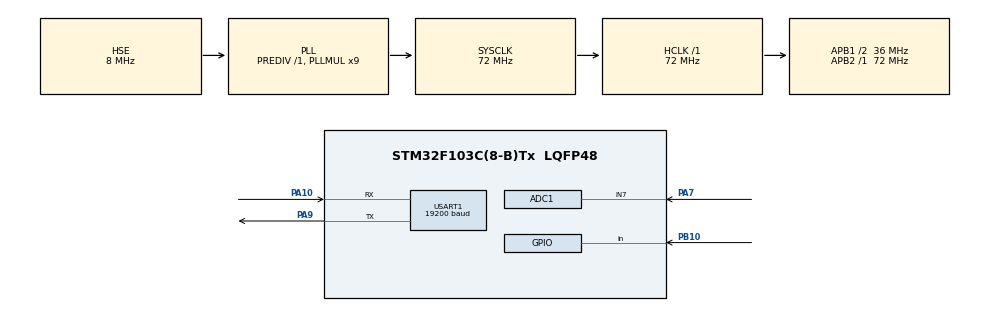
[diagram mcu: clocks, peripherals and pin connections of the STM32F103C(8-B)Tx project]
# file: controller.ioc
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ADC1.Channel-1\#ChannelRegularConversion=ADC_CHANNEL_7
ADC1.ContinuousConvMode=ENABLE
ADC1.NbrOfConversionFlag=1
ADC1.Rank-1\#ChannelRegularConversion=1
ADC1.SamplingTime-1\#ChannelRegularConversion=ADC_SAMPLETIME_1CYCLE_5
ADC1.master=1
Dma.Request0=USART1_TX
Dma.USART1_TX.0.Direction=DMA_MEMORY_TO_PERIPH
Dma.USART1_TX.0.Instance=DMA1_Channel4
Dma.USART1_TX.0.MemDataAlignment=DMA_MDATAALIGN_BYTE
Dma.USART1_TX.0.MemInc=DMA_MINC_ENABLE
Dma.USART1_TX.0.Mode=DMA_CIRCULAR
Dma.USART1_TX.0.PeriphDataAlignment=DMA_PDATAALIGN_BYTE
Dma.USART1_TX.0.PeriphInc=DMA_PINC_DISABLE
Dma.USART1_TX.0.Priority=DMA_PRIORITY_LOW
Mcu.Family=STM32F1
Mcu.Name=STM32F103C(8-B)Tx
Mcu.Package=LQFP48
NVIC.DMA1_Channel4_IRQn=true\:0\:0\:false\:false\:true\:false\:true\:true
NVIC.PriorityGroup=NVIC_PRIORITYGROUP_4
PA10.Mode=Asynchronous
PA10.Signal=USART1_RX
PA7.Signal=ADCx_IN7
PA9.Mode=Asynchronous
PA9.Signal=USART1_TX
PB10.GPIO_PuPd=GPIO_PULLDOWN
PB10.Signal=GPIO_Input
PD0-OSC_IN.Mode=HSE-External-Oscillator
PD0-OSC_IN.Signal=RCC_OSC_IN
PD1-OSC_OUT.Mode=HSE-External-Oscillator
PD1-OSC_OUT.Signal=RCC_OSC_OUT
ProjectManager.HeapSize=0x200
ProjectManager.StackSize=0x400
ProjectManager.TargetToolchain=STM32CubeIDE
RCC.ADCPresc=RCC_ADCPCLK2_DIV8
RCC.AHBFreq_Value=72000000
RCC.APB1CLKDivider=RCC_HCLK_DIV2
RCC.APB1Freq_Value=36000000
RCC.APB1TimFreq_Value=72000000
RCC.APB2Freq_Value=72000000
RCC.APB2TimFreq_Value=72000000
RCC.HCLKFreq_Value=72000000
RCC.PLLMUL=RCC_PLL_MUL9
RCC.PLLSourceVirtual=RCC_PLLSOURCE_HSE
RCC.SYSCLKFreq_VALUE=72000000
RCC.SYSCLKSource=RCC_SYSCLKSOURCE_PLLCLK
RCC.USBFreq_Value=72000000
SH.ADCx_IN7.0=ADC1_IN7,IN7
USART1.BaudRate=19200
USART1.VirtualMode=VM_ASYNC
VP_SYS_VS_ND.Mode=No_Debug
board=custom

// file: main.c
/* USER CODE BEGIN Header */
/**
  ******************************************************************************
  * @file           : main.c
  * @brief          : Main program body
  ******************************************************************************
  * @attention
  *
  * Copyright (c) 2025 STMicroelectronics.
  * All rights reserved.
  *
  * This software is licensed under terms that can be found in the LICENSE file
  * in the root directory of this software component.
  * If no LICENSE file comes with this software, it is provided AS-IS.
  *
  ******************************************************************************
  */
/* USER CODE END Header */
#include "main.h"

/* USER CODE BEGIN Includes */
#include "stdbool.h"
/* USER CODE END Includes */

/* USER CODE BEGIN PD */
#define WINDOW_SIZE 4
/* USER CODE END PD */

ADC_HandleTypeDef hadc1;

UART_HandleTypeDef huart1;
DMA_HandleTypeDef hdma_usart1_tx;

/* USER CODE BEGIN PV */
uint8_t pkg1, pkg2;
uint8_t MSG[3] = {'\0'};

/* USER CODE END PV */

void SystemClock_Config(void);
static void MX_GPIO_Init(void);
static void MX_DMA_Init(void);
static void MX_ADC1_Init(void);
static void MX_USART1_UART_Init(void);

int main(void)
{

  /* USER CODE BEGIN 1 */
  uint16_t RunningAvg[WINDOW_SIZE] = {0};
  uint16_t sum = 0;
  uint8_t idx = 0;
  pkg1 = pkg2 = 0;
  uint16_t AD_RES = 0;
  uint16_t AD_RES_AVG = 0;

  /* USER CODE END 1 */

  /* MCU Configuration--------------------------------------------------------*/

  /* Reset of all peripherals, Initializes the Flash interface and the Systick. */
  HAL_Init();

  /* Configure the system clock */
  SystemClock_Config();

  /* Initialize all configured peripherals */
  MX_GPIO_Init();
  MX_DMA_Init();
  MX_ADC1_Init();
  MX_USART1_UART_Init();
  /* USER CODE BEGIN 2 */
  HAL_ADC_Start(&hadc1);
  HAL_UART_Transmit_DMA(&huart1, MSG, 2);
  /* USER CODE END 2 */

  /* Infinite loop */
  /* USER CODE BEGIN WHILE */
  while (1)
  {
      // Poll ADC1 Peripheral & TimeOut = 1mSec
      HAL_ADC_PollForConversion(&hadc1, 1);
      // Read The ADC Conversion Result
      AD_RES = HAL_ADC_GetValue(&hadc1);

      sum += AD_RES;
      sum -= RunningAvg[idx];
      RunningAvg[idx] = AD_RES;
      idx = (idx + 1) % WINDOW_SIZE;

      AD_RES_AVG = sum >> 2; //AD_RES_AVG here is 12 bits

      pkg1 = (AD_RES_AVG >> 4) & 0x7F;
      pkg2 = 0x80 | ((AD_RES_AVG >> 10) & 0x2) | HAL_GPIO_ReadPin(GPIOB, GPIO_PIN_10);

	  //sprintf(MSG,"%c%c", pkg1, pkg2);

    /* USER CODE END WHILE */

  }
}

void SystemClock_Config(void)
{
  RCC_OscInitTypeDef RCC_OscInitStruct = {0};
  RCC_ClkInitTypeDef RCC_ClkInitStruct = {0};
  RCC_PeriphCLKInitTypeDef PeriphClkInit = {0};

  /** Initializes the RCC Oscillators according to the specified parameters
  * in the RCC_OscInitTypeDef structure.
  */
  RCC_OscInitStruct.OscillatorType = RCC_OSCILLATORTYPE_HSE;
  RCC_OscInitStruct.HSEState = RCC_HSE_ON;
  RCC_OscInitStruct.HSEPredivValue = RCC_HSE_PREDIV_DIV1;
  RCC_OscInitStruct.HSIState = RCC_HSI_ON;
  RCC_OscInitStruct.PLL.PLLState = RCC_PLL_ON;
  RCC_OscInitStruct.PLL.PLLSource = RCC_PLLSOURCE_HSE;
  RCC_OscInitStruct.PLL.PLLMUL = RCC_PLL_MUL9;
  if (HAL_RCC_OscConfig(&RCC_OscInitStruct) != HAL_OK)
  {
    Error_Handler();
  }

  /** Initializes the CPU, AHB and APB buses clocks
  */
  RCC_ClkInitStruct.ClockType = RCC_CLOCKTYPE_HCLK|RCC_CLOCKTYPE_SYSCLK
                              |RCC_CLOCKTYPE_PCLK1|RCC_CLOCKTYPE_PCLK2;
  RCC_ClkInitStruct.SYSCLKSource = RCC_SYSCLKSOURCE_PLLCLK;
  RCC_ClkInitStruct.AHBCLKDivider = RCC_SYSCLK_DIV1;
  RCC_ClkInitStruct.APB1CLKDivider = RCC_HCLK_DIV2;
  RCC_ClkInitStruct.APB2CLKDivider = RCC_HCLK_DIV1;

  if (HAL_RCC_ClockConfig(&RCC_ClkInitStruct, FLASH_LATENCY_2) != HAL_OK)
  {
    Error_Handler();
  }
  PeriphClkInit.PeriphClockSelection = RCC_PERIPHCLK_ADC;
  PeriphClkInit.AdcClockSelection = RCC_ADCPCLK2_DIV8;
  if (HAL_RCCEx_PeriphCLKConfig(&PeriphClkInit) != HAL_OK)
  {
    Error_Handler();
  }
}

static void MX_ADC1_Init(void)
{

  ADC_ChannelConfTypeDef sConfig = {0};

  /** Common config
  */
  hadc1.Instance = ADC1;
  hadc1.Init.ScanConvMode = ADC_SCAN_DISABLE;
  hadc1.Init.ContinuousConvMode = ENABLE;
  hadc1.Init.DiscontinuousConvMode = DISABLE;
  hadc1.Init.ExternalTrigConv = ADC_SOFTWARE_START;
  hadc1.Init.DataAlign = ADC_DATAALIGN_RIGHT;
  hadc1.Init.NbrOfConversion = 1;
  if (HAL_ADC_Init(&hadc1) != HAL_OK)
  {
    Error_Handler();
  }

  /** Configure Regular Channel
  */
  sConfig.Channel = ADC_CHANNEL_7;
  sConfig.Rank = ADC_REGULAR_RANK_1;
  sConfig.SamplingTime = ADC_SAMPLETIME_1CYCLE_5;
  if (HAL_ADC_ConfigChannel(&hadc1, &sConfig) != HAL_OK)
  {
    Error_Handler();
  }

}

static void MX_USART1_UART_Init(void)
{

  huart1.Instance = USART1;
  huart1.Init.BaudRate = 19200;
  huart1.Init.WordLength = UART_WORDLENGTH_8B;
  huart1.Init.StopBits = UART_STOPBITS_1;
  huart1.Init.Parity = UART_PARITY_NONE;
  huart1.Init.Mode = UART_MODE_TX_RX;
  huart1.Init.HwFlowCtl = UART_HWCONTROL_NONE;
  huart1.Init.OverSampling = UART_OVERSAMPLING_16;
  if (HAL_UART_Init(&huart1) != HAL_OK)
  {
    Error_Handler();
  }

}

static void MX_DMA_Init(void)
{

  /* DMA controller clock enable */
  __HAL_RCC_DMA1_CLK_ENABLE();

  /* DMA interrupt init */
  /* DMA1_Channel4_IRQn interrupt configuration */
  HAL_NVIC_SetPriority(DMA1_Channel4_IRQn, 0, 0);
  HAL_NVIC_EnableIRQ(DMA1_Channel4_IRQn);

}

static void MX_GPIO_Init(void)
{
  GPIO_InitTypeDef GPIO_InitStruct = {0};

  /* GPIO Ports Clock Enable */
  __HAL_RCC_GPIOD_CLK_ENABLE();
  __HAL_RCC_GPIOA_CLK_ENABLE();
  __HAL_RCC_GPIOB_CLK_ENABLE();

  /*Configure GPIO pin : PB10 */
  GPIO_InitStruct.Pin = GPIO_PIN_10;
  GPIO_InitStruct.Mode = GPIO_MODE_INPUT;
  GPIO_InitStruct.Pull = GPIO_PULLDOWN;
  HAL_GPIO_Init(GPIOB, &GPIO_InitStruct);

}

/* USER CODE BEGIN 4 */
void HAL_UART_TxHalfCpltCallback(UART_HandleTypeDef *huart)
{
    MSG[0] = pkg1;
}

void HAL_UART_TxCpltCallback(UART_HandleTypeDef *huart)
{
    MSG[1] = pkg2 | HAL_GPIO_ReadPin(GPIOB, GPIO_PIN_10);
}
/* USER CODE END 4 */

void Error_Handler(void)
{
  __disable_irq();
  while (1)
  {
  }
}
